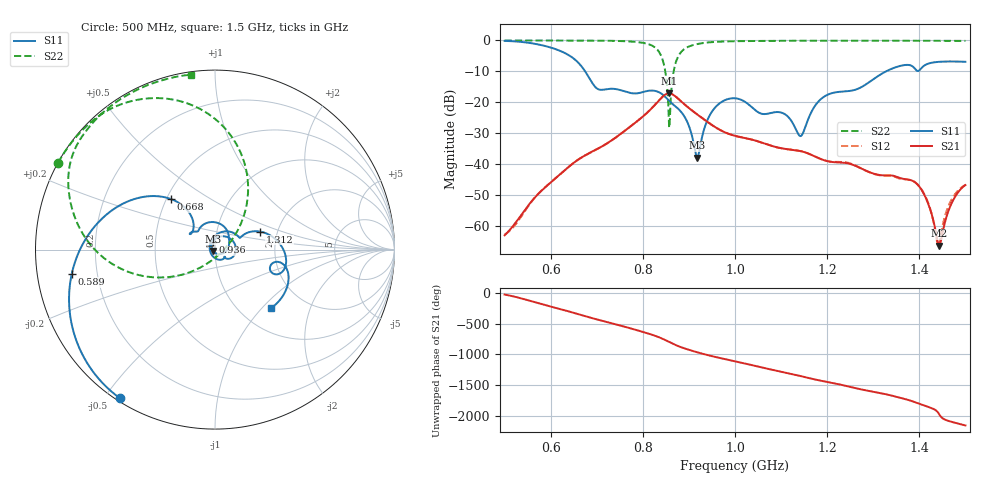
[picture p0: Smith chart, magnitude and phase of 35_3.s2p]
! TOUCHSTONE file generated by CST MICROWAVE STUDIO
! Date and time: Fri Oct  2 16:35:16 2020
! Project name: Scenario_1_Free_Space_out_of_line.cst
! Parameters = {Lambda=346.42; Step_1=17.321; dy1=-241.954; dx1=520; L_HA=400; MT=2.54; Rad_Dielectric=30; Rad_Lower=7.3; Rad_Upper=30; a_HA=580; a_WG=246; b_HA=500; b_WG=121; c_HA=0; c_WG=187; d_feed=85; h_feed=15; h_lower=18; h_upper=40}
! Header version: 2018
! Port assignment regex: !\s*Touchstone port\s*([0-9]+)\s*=\s*(CST MWS port|CST DS port)\s*([0-9]+|Zmin|Zmax)\s*\(\"(.*)\"\)(\s*mode\s*([0-9]+))?.*
! Touchstone port assignment:
! Touchstone port 1 = CST MWS port 1 ("")
! Touchstone port 2 = CST MWS port 2 ("")
# GHz S DB R 50
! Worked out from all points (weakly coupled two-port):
!   1003 points, 500 MHz to 1.5 GHz, reference 50 ohm
!   highest |S21| = -17.08 dB at 857 MHz (marker M1); lowest = -66.2 dB at 1.443 GHz (marker M2)
!   lowest |S11| = -37.9 dB at 918 MHz (marker M3), VSWR 1.03, Z = 49 - j0.747 ohm
!   |S11| at or under -10 dB: 674.9 MHz to 1.328 GHz (652.6 MHz wide, 65.2 % of centre)
!   |S22| runs from -28.1 to 0.0 dB; largest |S21 - S12| = 0.00045
!   S11 on the Smith chart (normalised r, x): 500 MHz: 0.01, -0.55; 589 MHz: 0.11, -0.08; 668 MHz: 0.53, +0.35; 936 MHz: 0.97, +0.08; 1.312 GHz: 1.63, +0.35; 1.5 GHz: 1.38, -1.13
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0.5  -0.15 -122.6  -62.87 -30.7  -62.61 -30.2  -0.01 151.1
0.589  -1.84 -170.4  -47.27 155.8  -47.20 155.1  -0.02 144.9
0.667  -8.38 131.7  -37.75 -4.0  -37.75 -3.7  -0.05 138.3
0.668  -8.57 131.0  -37.66 -6.1  -37.66 -5.9  -0.05 138.2
0.703  -15.73 138.3  -34.85 -79.2  -34.92 -79.4  -0.07 134.4
0.779  -17.08 133.8  -27.07 129.4  -27.06 129.4  -0.41 120.5
0.834  -16.64 80.4  -19.50 0.4  -19.50 0.4  -3.46 84.7
0.846  -17.84 59.8  -17.75 -38.3  -17.75 -38.3  -7.95 62.6
0.857  -19.50 43.2  -17.08 -78.8  -17.08 -78.8  -27.95 -17.5
0.876  -21.95 15.5  -18.71 -144.0  -18.71 -144.0  -5.38 -168.8
0.918  -37.87 -143.4  -23.87 113.8  -23.87 113.8  -1.17 158.7
0.936  -27.24 108.3  -25.83 77.1  -25.83 77.2  -0.74 152.7
1  -18.66 -1.9  -30.77 -31.5  -30.78 -31.5  -0.25 140.1
1.107  -23.68 -59.7  -34.95 149.1  -34.95 149.1  -0.12 129.0
1.141  -30.83 -160.1  -35.66 90.8  -35.66 90.8  -0.10 126.2
1.167  -22.73 93.7  -36.99 44.0  -36.98 43.9  -0.10 124.1
1.312  -11.34 21.7  -43.37 177.6  -43.47 178.1  -0.08 113.1
1.334  -9.53 11.4  -43.54 143.2  -43.55 143.3  -0.09 111.4
1.4  -9.64 -13.3  -47.16 -0.2  -47.08 0.7  -0.10 106.2
1.443  -6.90 -27.1  -66.22 -169.3  -65.93 167.3  -0.11 102.7
1.466  -6.79 -35.4  -53.93 75.6  -52.52 68.8  -0.12 100.8
1.5  -6.89 -45.9  -46.65 8.3  -46.61 9.8  -0.14 97.8
